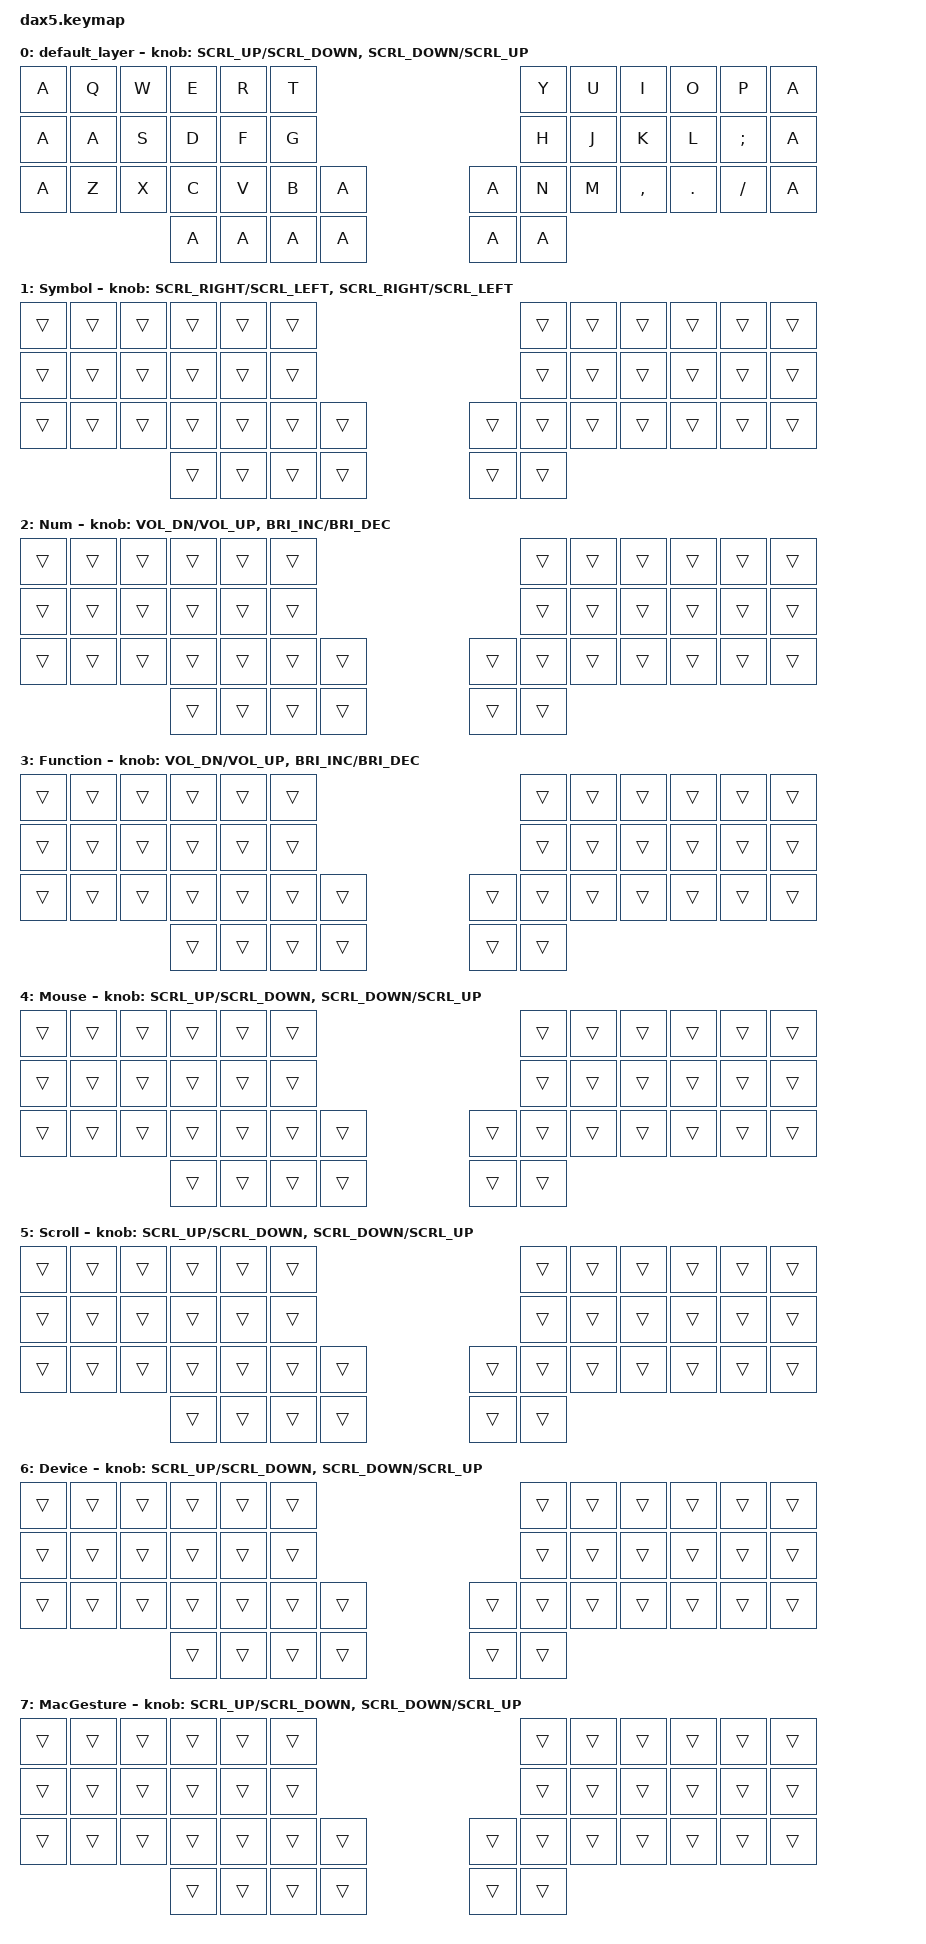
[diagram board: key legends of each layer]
#define ZMK_POINTING_DEFAULT_SCRL_VAL 120

#include <behaviors.dtsi>
#include <dt-bindings/zmk/bt.h>
#include <dt-bindings/zmk/keys.h>
#include <dt-bindings/zmk/pointing.h>
#include <mouse-gesture.dtsi>

#define MOUSE 4
#define SCROLL 5
#define NUM 6
#define MAC_GESTURE 7

&zip_mouse_gesture {
    stroke-size = <300>;
    enable-eager-mode;
    suppress-movement;
    idle-timeout-ms = <150>;
    gesture-cooldown-ms = <200>;

    g_back {
        pattern = <GESTURE_LEFT>;
        bindings = <&kp LG(LEFT_BRACKET)>;
    };

    g_fwd {
        pattern = <GESTURE_RIGHT>;
        bindings = <&kp LG(RIGHT_BRACKET)>;
    };

    g_top {
        pattern = <GESTURE_UP>;
        bindings = <&kp LG(UP_ARROW)>;
    };

    g_bottom {
        pattern = <GESTURE_DOWN>;
        bindings = <&kp LG(DOWN_ARROW)>;
    };
};

/ {
    zip_mouse_gesture_mac: zip_mouse_gesture_mac {
        compatible = "zmk,input-processor-mouse-gesture";
        #input-processor-cells = <0>;
        stroke-size = <300>;
        enable-eager-mode;
        always-active;
        idle-timeout-ms = <150>;
        gesture-cooldown-ms = <200>;

        mg_desktop {
            pattern = <GESTURE_UP>;
            bindings = <&kp F11>;
        };

        mg_mission_control {
            pattern = <GESTURE_RIGHT>;
            bindings = <&kp RC(UP_ARROW)>;
        };

        mg_app_expose {
            pattern = <GESTURE_DOWN>;
            bindings = <&kp RC(DOWN)>;
        };

        mg_spotlight {
            pattern = <GESTURE_LEFT>;
            bindings = <&kp LG(SPACE)>;
        };
    };
};

&mt {
    quick-tap-ms = <0>;
    tapping-term-ms = <160>;
    flavor = "balanced";
};

&lt {
    flavor = "balanced";
    tapping-term-ms = <160>;
    quick-tap-ms = <0>;
};

/ {
    combos {
        compatible = "zmk,combos";

        to_bluetooth {
            bindings = <&mo 6>;
            key-positions = <0 29>;
            layers = <0>;
        };

        kl_scroll {
            bindings = <&mo 5>;
            key-positions = <20 21>;
            layers = <0>;
        };
    };

    macros {
        esc_lang2: esc_lang2 {
            compatible = "zmk,behavior-macro";
            #binding-cells = <0>;
            bindings = <&macro_tap>, <&kp ESCAPE &kp LANG2>;
        };

    };

    behaviors {
        esc_lang2_with_layer: esc_lang2_with_layer {
            compatible = "zmk,behavior-hold-tap";
            bindings = <&mo>, <&esc_lang2>;

            #binding-cells = <2>;
            tapping-term-ms = <160>;
            flavor = "balanced";
        };

        enc_scroll: encoder_scroll {
            compatible = "zmk,behavior-sensor-rotate-var";
            #sensor-binding-cells = <2>;
            bindings = <&msc>, <&msc>;

            tap-ms = <20>;
        };
    };

    keymap {
        compatible = "zmk,keymap";

        // All 8 layers cover the dax5 44-key matrix (rows 13/12/13/6).
        // The default_layer bindings are placeholder identifiers so serialize
        // tests can assert per-column content; real keymaps live in
        // `config/dax5.keymap`.

        default_layer {
            bindings = <
&kp A   &kp Q   &kp W   &kp E   &kp R   &kp T                   &kp Y   &kp U   &kp I       &kp O     &kp P         &kp A
&kp A   &kp A   &kp S   &kp D   &kp F   &kp G                   &kp H   &kp J   &kp K       &kp L     &kp SEMI      &kp A
&kp A   &kp Z   &kp X   &kp C   &kp V   &kp B   &kp A   &kp A   &kp N   &kp M   &kp COMMA   &kp DOT   &kp SLASH     &kp A
                        &kp A   &kp A   &kp A   &kp A   &kp A   &kp A
            >;

            sensor-bindings = <&enc_scroll SCRL_UP SCRL_DOWN   &enc_scroll SCRL_DOWN SCRL_UP>;
        };

        Symbol {
            bindings = <
&trans  &trans  &trans  &trans  &trans  &trans                  &trans  &trans  &trans  &trans  &trans  &trans
&trans  &trans  &trans  &trans  &trans  &trans                  &trans  &trans  &trans  &trans  &trans  &trans
&trans  &trans  &trans  &trans  &trans  &trans  &trans  &trans  &trans  &trans  &trans  &trans  &trans  &trans
                        &trans  &trans  &trans  &trans  &trans  &trans
            >;

            sensor-bindings =
                <&enc_scroll SCRL_RIGHT SCRL_LEFT>,
                <&enc_scroll SCRL_RIGHT SCRL_LEFT>;
        };

        Num {
            bindings = <
&trans  &trans  &trans  &trans  &trans  &trans                  &trans  &trans  &trans  &trans  &trans  &trans
&trans  &trans  &trans  &trans  &trans  &trans                  &trans  &trans  &trans  &trans  &trans  &trans
&trans  &trans  &trans  &trans  &trans  &trans  &trans  &trans  &trans  &trans  &trans  &trans  &trans  &trans
                        &trans  &trans  &trans  &trans  &trans  &trans
            >;

            sensor-bindings =
                <&inc_dec_kp C_VOL_DN C_VOL_UP>,
                <&inc_dec_kp C_BRI_INC C_BRI_DEC>;
        };

        Function {
            bindings = <
&trans  &trans  &trans  &trans  &trans  &trans                  &trans  &trans  &trans  &trans  &trans  &trans
&trans  &trans  &trans  &trans  &trans  &trans                  &trans  &trans  &trans  &trans  &trans  &trans
&trans  &trans  &trans  &trans  &trans  &trans  &trans  &trans  &trans  &trans  &trans  &trans  &trans  &trans
                        &trans  &trans  &trans  &trans  &trans  &trans
            >;

            sensor-bindings =
                <&inc_dec_kp C_VOL_DN C_VOL_UP>,
                <&inc_dec_kp C_BRI_INC C_BRI_DEC>;
        };

        Mouse {
            bindings = <
&trans  &trans  &trans  &trans  &trans  &trans                  &trans  &trans  &trans  &trans  &trans  &trans
&trans  &trans  &trans  &trans  &trans  &trans                  &trans  &trans  &trans  &trans  &trans  &trans
&trans  &trans  &trans  &trans  &trans  &trans  &trans  &trans  &trans  &trans  &trans  &trans  &trans  &trans
                        &trans  &trans  &trans  &trans  &trans  &trans
            >;

            sensor-bindings =
                <&enc_scroll SCRL_UP SCRL_DOWN>,
                <&enc_scroll SCRL_DOWN SCRL_UP>;
        };

        Scroll {
            bindings = <
&trans  &trans  &trans  &trans  &trans  &trans                  &trans  &trans  &trans  &trans  &trans  &trans
&trans  &trans  &trans  &trans  &trans  &trans                  &trans  &trans  &trans  &trans  &trans  &trans
&trans  &trans  &trans  &trans  &trans  &trans  &trans  &trans  &trans  &trans  &trans  &trans  &trans  &trans
                        &trans  &trans  &trans  &trans  &trans  &trans
            >;

            sensor-bindings =
                <&enc_scroll SCRL_UP SCRL_DOWN>,
                <&enc_scroll SCRL_DOWN SCRL_UP>;
        };

        Device {
            bindings = <
&trans  &trans  &trans  &trans  &trans  &trans                  &trans  &trans  &trans  &trans  &trans  &trans
&trans  &trans  &trans  &trans  &trans  &trans                  &trans  &trans  &trans  &trans  &trans  &trans
&trans  &trans  &trans  &trans  &trans  &trans  &trans  &trans  &trans  &trans  &trans  &trans  &trans  &trans
                        &trans  &trans  &trans  &trans  &trans  &trans
            >;

            sensor-bindings =
                <&enc_scroll SCRL_UP SCRL_DOWN>,
                <&enc_scroll SCRL_DOWN SCRL_UP>;
        };

        MacGesture {
            bindings = <
&trans  &trans  &trans  &trans  &trans  &trans                  &trans  &trans  &trans  &trans  &trans  &trans
&trans  &trans  &trans  &trans  &trans  &trans                  &trans  &trans  &trans  &trans  &trans  &trans
&trans  &trans  &trans  &trans  &trans  &trans  &trans  &trans  &trans  &trans  &trans  &trans  &trans  &trans
                        &trans  &trans  &trans  &trans  &trans  &trans
            >;

            sensor-bindings =
                <&enc_scroll SCRL_UP SCRL_DOWN>,
                <&enc_scroll SCRL_DOWN SCRL_UP>;
        };

    };
};
